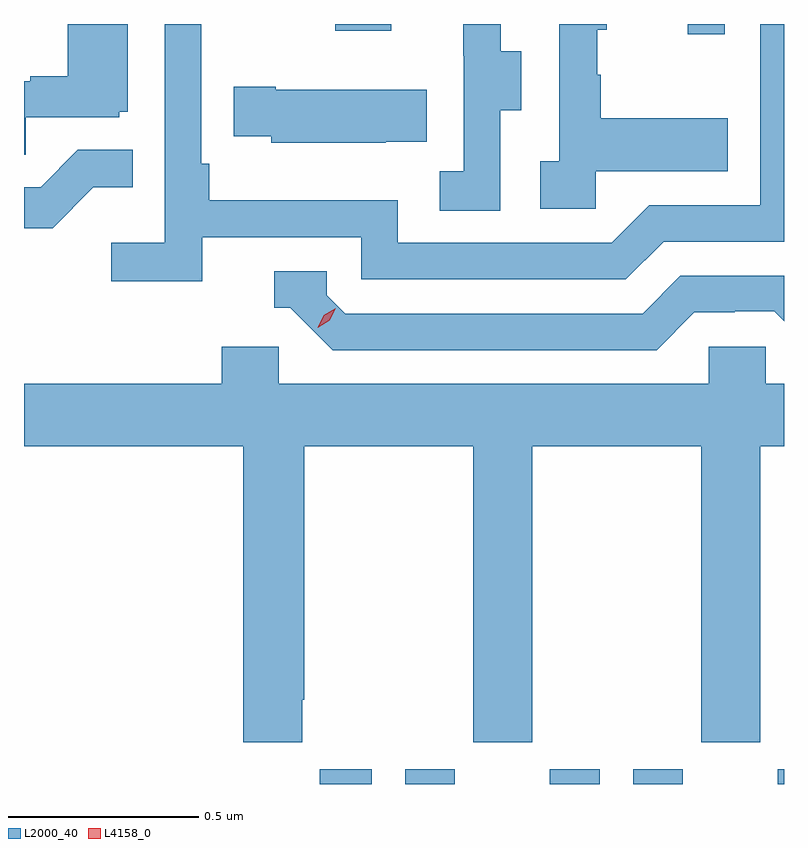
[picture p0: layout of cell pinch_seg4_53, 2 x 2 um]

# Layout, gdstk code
import gdstk
lib = gdstk.Library(unit=1e-6, precision=1e-09)
def R(c, l, rs):  # rectangles x0, y0, x1, y1
    for r in rs: c.add(gdstk.rectangle(r[:2], r[2:], *l))
def P(c, l, *ps):  # polygons
    for p in ps: c.add(gdstk.Polygon(p, *l))
L2000_40 = (2000, 40)
L4158_0 = (4158, 0)

pinch_seg4_53 = lib.new_cell('pinch_seg4_53')
R(pinch_seg4_53, L2000_40, [(1137.035,819.907,1137.172,819.946), (1137.26,819.907,1137.391,819.946), (1137.641,819.907,1137.772,819.946), (1137.86,819.907,1137.991,819.946), (1138.241,819.907,1138.257,819.946), (1138.004,821.88,1138.101,821.907), (1137.076,821.889,1137.223,821.907)])
P(pinch_seg4_53, L2000_40, [(1136.261,821.661),(1136.508,821.661),(1136.508,821.676),(1136.53,821.676),(1136.53,821.907),(1136.372,821.907),(1136.372,821.77),(1136.273,821.77),(1136.273,821.757),(1136.257,821.757),(1136.257,821.563),(1136.261,821.563)],
  [(1136.726,821.346),(1137.144,821.346),(1137.144,821.235),(1137.841,821.235),(1137.94,821.334),(1138.257,821.334),(1138.257,821.907),(1138.194,821.907),(1138.194,821.43),(1137.903,821.43),(1137.804,821.331),(1137.24,821.331),(1137.24,821.443),(1136.744,821.443),(1136.744,821.539),(1136.724,821.539),(1136.724,821.907),(1136.628,821.907),(1136.628,821.332),(1136.487,821.332),(1136.487,821.23),(1136.726,821.23)],
  [(1137.51,821.68),(1137.565,821.68),(1137.565,821.835),(1137.511,821.835),(1137.511,821.907),(1137.413,821.907),(1137.413,821.823),(1137.414,821.823),(1137.414,821.519),(1137.351,821.519),(1137.351,821.416),(1137.51,821.416)],
  [(1137.762,821.519),(1138.109,821.519),(1138.109,821.659),(1137.775,821.659),(1137.775,821.774),(1137.765,821.774),(1137.765,821.892),(1137.79,821.892),(1137.79,821.907),(1137.666,821.907),(1137.666,821.546),(1137.615,821.546),(1137.615,821.421),(1137.762,821.421)],
  [(1137.209,821.597),(1137.317,821.597),(1137.317,821.734),(1136.92,821.734),(1136.92,821.742),(1136.809,821.742),(1136.809,821.612),(1136.907,821.612),(1136.907,821.594),(1137.209,821.594)],
  [(1136.439,821.477),(1136.543,821.477),(1136.543,821.576),(1136.399,821.576),(1136.301,821.478),(1136.257,821.478),(1136.257,821.37),(1136.332,821.37)],
  [(1138.021,821.148),(1138.128,821.148),(1138.128,821.151),(1138.231,821.151),(1138.257,821.125),(1138.257,821.244),(1137.984,821.244),(1137.885,821.145),(1137.102,821.145),(1137.054,821.193),(1137.054,821.256),(1136.915,821.256),(1136.915,821.16),(1136.958,821.16),(1137.069,821.049),(1137.922,821.049)],
  [(1136.989,820.129),(1136.994,820.129),(1136.994,820.796),(1137.439,820.796),(1137.439,820.017),(1137.594,820.017),(1137.594,820.796),(1138.039,820.796),(1138.039,820.017),(1138.194,820.017),(1138.194,820.796),(1138.257,820.796),(1138.257,820.96),(1138.209,820.96),(1138.209,821.058),(1138.059,821.058),(1138.059,820.96),(1136.928,820.96),(1136.928,821.058),(1136.777,821.058),(1136.777,820.96),(1136.257,820.96),(1136.257,820.796),(1136.834,820.796),(1136.834,820.017),(1136.989,820.017)])
P(pinch_seg4_53, L4158_0, [(1137.03,821.108),(1137.03,821.108),(1137.046,821.14),(1137.078,821.159),(1137.078,821.159),(1137.078,821.159),(1137.061,821.127),(1137.03,821.108)])

lib.write_gds('pinch_seg4_53.gds')
